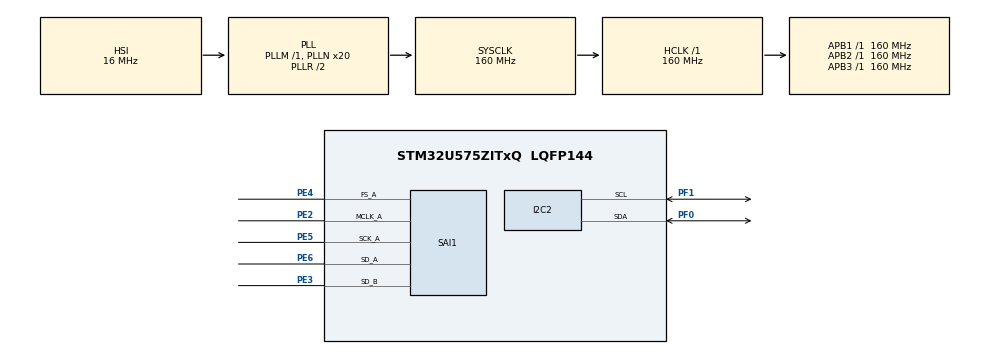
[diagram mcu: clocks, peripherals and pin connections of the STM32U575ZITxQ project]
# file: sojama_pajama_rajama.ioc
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CORTEX_M33_NS.userName=CORTEX_M33
I2C2.Timing=0x5060689D
Mcu.Family=STM32U5
Mcu.Name=STM32U575ZITxQ
Mcu.Package=LQFP144
NVIC.PriorityGroup=NVIC_PRIORITYGROUP_4
PE2.GPIO_Speed=GPIO_SPEED_FREQ_MEDIUM
PE2.Mode=SAI_A_MasterWithClock
PE2.Signal=SAI1_MCLK_A
PE3.Mode=SAI_B_SyncSlave
PE3.Signal=SAI1_SD_B
PE4.GPIO_Speed=GPIO_SPEED_FREQ_MEDIUM
PE4.Mode=SAI_A_MasterWithClock
PE4.Signal=SAI1_FS_A
PE5.GPIO_Speed=GPIO_SPEED_FREQ_MEDIUM
PE5.Mode=SAI_A_MasterWithClock
PE5.Signal=SAI1_SCK_A
PE6.GPIO_Speed=GPIO_SPEED_FREQ_MEDIUM
PE6.Mode=SAI_A_MasterWithClock
PE6.Signal=SAI1_SD_A
PF0.GPIO_PuPd=GPIO_PULLUP
PF0.Mode=I2C
PF0.Signal=I2C2_SDA
PF1.GPIO_PuPd=GPIO_PULLUP
PF1.Mode=I2C
PF1.Signal=I2C2_SCL
PWR.PowerMode=PWR_SMPS_SUPPLY
ProjectManager.HeapSize=0x200
ProjectManager.StackSize=0x400
ProjectManager.TargetToolchain=CMake
RCC.ADCFreq_Value=16000000
RCC.AHBFreq_Value=160000000
RCC.APB1Freq_Value=160000000
RCC.APB1TimFreq_Value=160000000
RCC.APB2Freq_Value=160000000
RCC.APB2TimFreq_Value=160000000
RCC.APB3Freq_Value=160000000
RCC.CortexFreq_Value=160000000
RCC.EPOD_VALUE=16000000
RCC.HCLKFreq_Value=160000000
RCC.HSE_VALUE=12288000
RCC.HSI48_VALUE=48000000
RCC.HSI_VALUE=16000000
RCC.LSE_VALUE=32768
RCC.LSIDIV_VALUE=32000
RCC.MSI_VALUE=4000000
RCC.PLL2FRACN=5898
RCC.PLL2N=30
RCC.PLL2P=5
RCC.PLL2Source=RCC_PLLSOURCE_HSI
RCC.PLLN=20
RCC.PLLSourceVirtual=RCC_PLLSOURCE_HSI
RCC.PWR_Regulator_Voltage_Scale=PWR_REGULATOR_VOLTAGE_SCALE1
RCC.SYSCLKFreq_VALUE=160000000
RCC.SYSCLKSource=RCC_SYSCLKSOURCE_PLLCLK
RCC.USBFreq_Value=48000000
RCC.VCOOutputFreq_Value=320000000
SAI1.AudioFrequency-SAI_A_MasterWithClock=SAI_AUDIO_FREQUENCY_48K
SAI1.AudioMode-SAI_A_MasterWithClock=SAI_MODEMASTER_RX
SAI1.AudioMode-SAI_B_SyncSlave=SAI_MODESLAVE_TX
SAI1.ClockStrobing-SAI_A_MasterWithClock=SAI_CLOCKSTROBING_RISINGEDGE
SAI1.DataSize-SAI_A_MasterWithClock=SAI_DATASIZE_24
SAI1.DataSize-SAI_B_SyncSlave=SAI_DATASIZE_24
SAI1.ErrorAudioFreq-SAI_A_MasterWithClock=0.0 %
SAI1.FSOffset-SAI_A_MasterWithClock=SAI_FS_BEFOREFIRSTBIT
SAI1.FSPolarity-SAI_A_MasterWithClock=SAI_FS_ACTIVE_HIGH
SAI1.FrameLength-SAI_A_MasterWithClock=128
SAI1.FSOffset-SAI_B_SyncSlave=SAI_FS_BEFOREFIRSTBIT
SAI1.FSPolarity-SAI_B_SyncSlave=SAI_FS_ACTIVE_HIGH
SAI1.FrameLength-SAI_B_SyncSlave=128
SAI1.Instance-SAI_A_MasterWithClock=SAI$Index_Block_A
SAI1.Instance-SAI_B_SyncSlave=SAI$Index_Block_B
SAI1.MckOutput-SAI_A_MasterWithClock=SAI_MCK_OUTPUT_ENABLE
SAI1.RealAudioFreq-SAI_A_MasterWithClock=48.0 KHz
SAI1.SlotActive-SAI_A_MasterWithClock=0x00000003
SAI1.SlotActive-SAI_B_SyncSlave=0x00000003
SAI1.SlotNumber-SAI_A_MasterWithClock=4
SAI1.SlotNumber-SAI_B_SyncSlave=4
SAI1.SlotSize-SAI_A_MasterWithClock=SAI_SLOTSIZE_32B
SAI1.SlotSize-SAI_B_SyncSlave=SAI_SLOTSIZE_32B
SAI1.VirtualMode-SAI_A_MasterWithClock=VM_MASTER
SAI1.VirtualMode-SAI_B_SyncSlave=VM_SLAVE
SAI1.VirtualSlotActive-SAI_A_MasterWithClock=SAI_SLOT_USERSETTING
SAI1.VirtualSlotActive0-SAI_A_MasterWithClock=true
SAI1.VirtualSlotActive1-SAI_A_MasterWithClock=true
SAI1.VirtualSlotActive-SAI_B_SyncSlave=SAI_SLOT_USERSETTING
SAI1.VirtualSlotActive0-SAI_B_SyncSlave=true
SAI1.VirtualSlotActive1-SAI_B_SyncSlave=true
VP_ICACHE_VS_ICACHE.Mode=DefaultMode
VP_LPBAMQUEUE_VS_QUEUE.Mode=QUEUEMODE
VP_LPBAM_VS_SIG1.Mode=SmartRun
VP_LPBAM_VS_SIG4.Mode=LPDMA1
VP_MEMORYMAP_VS_MEMORYMAP.Mode=CurAppReg
VP_PWR_VS_LPOM.Mode=PowerOptimisation
VP_PWR_VS_SECSignals.Mode=Security/Privilege
board=custom

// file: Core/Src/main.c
/* USER CODE BEGIN Header */
/**
  ******************************************************************************
  * @file           : main.c
  * @brief          : Main program body
  ******************************************************************************
  * @attention
  *
  * Copyright (c) 2026 STMicroelectronics.
  * All rights reserved.
  *
  * This software is licensed under terms that can be found in the LICENSE file
  * in the root directory of this software component.
  * If no LICENSE file comes with this software, it is provided AS-IS.
  *
  ******************************************************************************
  */
/* USER CODE END Header */
#include "main.h"

/* USER CODE BEGIN Includes */
#include "adau1372.h"
#include "audio_clip.h"
#include "audio.h"
#include "uart_comm.h"
#include <string.h>

/* USER CODE END Includes */

I2C_HandleTypeDef hi2c2;

SAI_HandleTypeDef hsai_BlockA1;
SAI_HandleTypeDef hsai_BlockB1;

/* USER CODE BEGIN PV */
ADAU1372_HandleTypeDef codec = { .hi2c = &hi2c2, .addr = ADAU1372_I2C_ADDR_BASE };

/* Matches SAI1: 48 kHz, 4 x 32-bit TDM slots, STM32 drives BCLK and a
 * 1-bit frame sync pulse, MCLK from SAI1_MCLK_A (PE2). */
static const ADAU1372_ConfigTypeDef codec_cfg = {
  .mclk_hz      = 12288000,
  .sample_rate  = 48000,
  .tdm_slots    = 4,
  .slot_bits    = 32,
  .clock_master = 0,
  .lrclk_pulse  = 1,
  .lrclk_invert = 0,   /* datasheet Table 20 says 1 for TDM; try 1 if there is no sound */
  .headphone_out = 1,
};

/* What plays when not recording or playing back, changeable from the debugger:
 * 0 = song clip, 1 = mic passthrough (mic 1 left, mic 2 right), 2 = silence,
 * 3 = test tone on both speakers (TONE_HZ at TONE_LEVEL). */
volatile uint8_t audio_mode = 2;
#define TONE_HZ    1000.0f
#define TONE_LEVEL 0.25f     /* peak, fraction of full scale: -12 dBFS */
static Audio_Tone tone;
/* Mic levels, updated every 100 ms: [0] = AIN0 (TDM slot 0), [1] = AIN1 (slot 1).
 * Watch mic_meter[n].peak_pct while talking. */
volatile Audio_Meter mic_meter[2];
volatile uint32_t audio_frames;
/* Audio runs on SAI1 DMA: each DMA half-buffer is AUDIO_BLOCK_FRAMES frames (1 ms),
 * processed in the DMA interrupt by Audio_ProcessBlock(). Diagnostics:
 * audio_blocks: blocks processed. audio_isr_max_cycles: longest block processing time
 * (DWT cycles, 160 = 1 us; a block is 1 ms = 160000). audio_tx_underruns: times the
 * speaker FIFO ran empty (each one is a click). audio_sai_errors: SAI/DMA errors. */
#define AUDIO_BLOCK_FRAMES 48U
#define AUDIO_BUF_WORDS    (2U * AUDIO_BLOCK_FRAMES * 2U)   /* 2 halves x frames x 2 slots */
volatile uint32_t audio_blocks;
volatile uint32_t audio_isr_max_cycles;
volatile uint32_t audio_tx_underruns;
volatile uint32_t audio_sai_errors;
static uint32_t audio_rx_buf[AUDIO_BUF_WORDS];
static uint32_t audio_tx_buf[AUDIO_BUF_WORDS];
static DMA_HandleTypeDef hdma_sai1_a;
static DMA_HandleTypeDef hdma_sai1_b;
static DMA_NodeTypeDef dma_node_sai1_a;
static DMA_NodeTypeDef dma_node_sai1_b;
static DMA_QListTypeDef dma_queue_sai1_a;
static DMA_QListTypeDef dma_queue_sai1_b;
/* Data streamed to the PC over UART, changeable from the debugger. Either stream
 * turns off the UART test counter.
 * 1 = mic levels (Tests/mic_plot.py): every 50 ms "MIC,<peak1>,<peak2>\r\n", each peak
 *     the largest |sample - dc| of that mic in the period, 0..8388608 (full scale).
 * 2 = spectrum (Tests/fft_plot.py): "FFT,<mic 0|1>,<v0>,...,<v255>\r\n", bin k at
 *     k * 93.75 Hz, each value the bin level in -dBFS (0..140). Alternates mics. */
volatile uint8_t stream_mode = 2;
#define MIC_STREAM_FRAMES 2400U   /* 50 ms at 48 kHz */
/* Written by the audio interrupt, sent by the main loop. */
static uint32_t stream_peak[2];
static uint32_t stream_frames;
static uint32_t mic_report[2];
static volatile uint8_t mic_report_ready;

/* Spectrum stream: the audio interrupt collects SPEC_N samples of mic spec_ch while
 * spec_collecting is set; the main loop then runs the FFT, formats and sends it. */
static Audio_Spectrum spectrum;
static volatile uint8_t spec_collecting;
static volatile uint8_t spec_ch;
static uint8_t spec_line[UART_TX_BUF_SIZE];
static size_t spec_len;
static Audio_Clip clip = { audio_clip, AUDIO_CLIP_LEN, 0, 0, 2 };

/* Record / play back both mics. Record: button from PC8 to GND, or the B1 user button
 * (PC13, high when pressed). Play: button from PC9 to GND. PC8/PC9 use internal pull-ups. Red LD3 (PG2) flashes while
 * recording, green LD1 (PC7) is on during playback. Stored at 16 kHz (1/3 of 48 kHz)
 * so 10 s of both mics fits in RAM. */
#define REC_SECONDS     10U
#define REC_RATIO       3U
#define REC_LEN         (REC_SECONDS * 48000U / REC_RATIO)
#define REC_BTN_PORT    GPIOC
#define REC_BTN_PIN     GPIO_PIN_8
#define PLAY_BTN_PORT   GPIOC
#define PLAY_BTN_PIN    GPIO_PIN_9
#define LED_FLASH_FRAMES 6000U   /* 125 ms at 48 kHz */
typedef enum { APP_IDLE, APP_RECORDING, APP_PLAYING } App_State;
volatile App_State app_state = APP_IDLE;
static int16_t rec_buf[2][REC_LEN];
static Audio_Recorder recorder[2] = {
  { rec_buf[0], REC_LEN, 0, 0, 0, REC_RATIO },
  { rec_buf[1], REC_LEN, 0, 0, 0, REC_RATIO },
};
static Audio_Clip rec_clip[2];
/* Normal recording (0): mic 1 -> speaker 1 (left, HPOUTL), mic 2 -> speaker 2
 * (right, HPOUTR), 10 s each. Test mode (1): one track, mic 1 for the first half and
 * mic 2 for the second, played on both speakers; red LD3 flashes during the mic 1
 * half, blue LD2 (PB7) during the mic 2 half. */
volatile uint8_t rec_split_test = 0;
#define REC_SPLIT_FRAMES (REC_SECONDS * 48000U / 2U)
static Audio_Button rec_button, play_button;
/* Record / playback state, used only by the audio interrupt. */
static uint32_t play_left;
static uint32_t led_count;
static uint32_t rec_frames;
/* USER CODE END PV */

void SystemClock_Config(void);
void PeriphCommonClock_Config(void);
static void SystemPower_Config(void);
static void MX_GPIO_Init(void);
static void MX_I2C2_Init(void);
static void MX_SAI1_Init(void);
static void MX_ICACHE_Init(void);

/* USER CODE BEGIN 0 */
/* ADAU1372 7-bit I2C address is 0x3C-0x3F, set by the ADDR0/ADDR1 pins. */
#define ADAU1372_ADDR_FIRST 0x3C
#define ADAU1372_ADDR_LAST  0x3F

/* Results of the I2C check, readable from the debugger. */
volatile uint8_t i2c_found_addrs[128];
volatile uint8_t i2c_found_count;
volatile uint8_t adau1372_addr;      /* 0 if not found */
volatile uint8_t adau1372_reg0;      /* register 0x0000 (CLK_CONTROL) */
volatile HAL_StatusTypeDef adau1372_read_status = HAL_ERROR;

/* I2C connection test for the ADAU1372. Runs on the default 4 MHz MSI
 * clock, so it does not need the external 12.288 MHz HSE.
 * Result is shown on the Nucleo LEDs and never returns:
 *   green LD1 (PC7) slow blink  -> ADAU1372 ACKed and register read worked
 *   blue  LD2 (PB7) slow blink  -> some device ACKed, but not at 0x3C-0x3F
 *   blue  LD2 (PB7) fast blink  -> nothing on the bus responded */
__attribute__((unused)) static void I2C_ConnectionTest(void)
{
  GPIO_InitTypeDef GPIO_InitStruct = {0};
  uint16_t led_pin;
  GPIO_TypeDef *led_port;
  uint32_t period;

  __HAL_RCC_GPIOB_CLK_ENABLE();
  __HAL_RCC_GPIOC_CLK_ENABLE();

  GPIO_InitStruct.Mode = GPIO_MODE_OUTPUT_PP;
  GPIO_InitStruct.Pull = GPIO_NOPULL;
  GPIO_InitStruct.Speed = GPIO_SPEED_FREQ_LOW;
  GPIO_InitStruct.Pin = GPIO_PIN_7;
  HAL_GPIO_Init(GPIOB, &GPIO_InitStruct);
  HAL_GPIO_Init(GPIOC, &GPIO_InitStruct);

  /* Same settings as MX_I2C2_Init(), but with a timing value for
   * ~100 kHz from a 4 MHz kernel clock (PRESC=0, SCLL=0x13, SCLH=0x0F). */
  hi2c2.Instance = I2C2;
  hi2c2.Init.Timing = 0x00420F13;
  hi2c2.Init.OwnAddress1 = 0;
  hi2c2.Init.AddressingMode = I2C_ADDRESSINGMODE_7BIT;
  hi2c2.Init.DualAddressMode = I2C_DUALADDRESS_DISABLE;
  hi2c2.Init.OwnAddress2 = 0;
  hi2c2.Init.OwnAddress2Masks = I2C_OA2_NOMASK;
  hi2c2.Init.GeneralCallMode = I2C_GENERALCALL_DISABLE;
  hi2c2.Init.NoStretchMode = I2C_NOSTRETCH_DISABLE;
  if (HAL_I2C_Init(&hi2c2) != HAL_OK)
  {
    Error_Handler();
  }

  /* Enable the internal pull-ups on SDA/SCL in case the breakout has none.
   * They are weak (~40k) but fine at 100 kHz with short wires. */
  GPIO_InitStruct.Pin = GPIO_PIN_0 | GPIO_PIN_1;
  GPIO_InitStruct.Mode = GPIO_MODE_AF_OD;
  GPIO_InitStruct.Pull = GPIO_PULLUP;
  GPIO_InitStruct.Speed = GPIO_SPEED_FREQ_LOW;
  GPIO_InitStruct.Alternate = GPIO_AF4_I2C2;
  HAL_GPIO_Init(GPIOF, &GPIO_InitStruct);

  /* Scan the whole bus. */
  i2c_found_count = 0;
  adau1372_addr = 0;
  for (uint8_t addr = 0x08; addr < 0x78; addr++)
  {
    if (HAL_I2C_IsDeviceReady(&hi2c2, addr << 1, 2, 10) == HAL_OK)
    {
      i2c_found_addrs[i2c_found_count++] = addr;
      if (addr >= ADAU1372_ADDR_FIRST && addr <= ADAU1372_ADDR_LAST && adau1372_addr == 0)
      {
        adau1372_addr = addr;
      }
    }
  }

  /* ADAU1372 registers use a 16-bit subaddress. */
  if (adau1372_addr != 0)
  {
    uint8_t val = 0;
    adau1372_read_status = HAL_I2C_Mem_Read(&hi2c2, adau1372_addr << 1, 0x0000,
                                            I2C_MEMADD_SIZE_16BIT, &val, 1, 100);
    adau1372_reg0 = val;
  }

  if (adau1372_addr != 0 && adau1372_read_status == HAL_OK)
  {
    led_port = GPIOC; led_pin = GPIO_PIN_7; period = 500;
  }
  else if (i2c_found_count > 0)
  {
    led_port = GPIOB; led_pin = GPIO_PIN_7; period = 500;
  }
  else
  {
    led_port = GPIOB; led_pin = GPIO_PIN_7; period = 100;
  }

  while (1)
  {
    HAL_GPIO_TogglePin(led_port, led_pin);
    HAL_Delay(period);
  }
}

/* Stop both SAI1 blocks at the end of the current frame and empty their FIFOs. */
static void Audio_StopSai(void)
{
  __HAL_SAI_DISABLE(&hsai_BlockB1);
  __HAL_SAI_DISABLE(&hsai_BlockA1);
  uint32_t start = HAL_GetTick();
  while (((SAI1_Block_A->CR1 | SAI1_Block_B->CR1) & SAI_xCR1_SAIEN) && (HAL_GetTick() - start < 2U))
  {
  }
  SAI1_Block_A->CR2 |= SAI_xCR2_FFLUSH;
  SAI1_Block_B->CR2 |= SAI_xCR2_FFLUSH;
  __HAL_SAI_CLEAR_FLAG(&hsai_BlockA1, SAI_FLAG_OVRUDR);
  __HAL_SAI_CLEAR_FLAG(&hsai_BlockB1, SAI_FLAG_OVRUDR);
}

/* Circular GPDMA channel with one linked-list node covering the whole buffer.
 * The SAI HAL fills in the node's addresses and size when the transfer starts. */
static HAL_StatusTypeDef Audio_DmaSetup(DMA_HandleTypeDef *hdma, DMA_Channel_TypeDef *channel,
                                        DMA_NodeTypeDef *node, DMA_QListTypeDef *queue,
                                        uint32_t request, uint32_t direction)
{
  DMA_NodeConfTypeDef conf = {0};
  uint8_t to_periph = (direction == DMA_MEMORY_TO_PERIPH);

  conf.NodeType = DMA_GPDMA_LINEAR_NODE;
  conf.Init.Request = request;
  conf.Init.BlkHWRequest = DMA_BREQ_SINGLE_BURST;
  conf.Init.Direction = direction;
  conf.Init.SrcInc = to_periph ? DMA_SINC_INCREMENTED : DMA_SINC_FIXED;
  conf.Init.DestInc = to_periph ? DMA_DINC_FIXED : DMA_DINC_INCREMENTED;
  conf.Init.SrcDataWidth = DMA_SRC_DATAWIDTH_WORD;
  conf.Init.DestDataWidth = DMA_DEST_DATAWIDTH_WORD;
  conf.Init.SrcBurstLength = 1;
  conf.Init.DestBurstLength = 1;
  conf.Init.TransferAllocatedPort = DMA_SRC_ALLOCATED_PORT0 | DMA_DEST_ALLOCATED_PORT1;
  conf.Init.TransferEventMode = DMA_TCEM_BLOCK_TRANSFER;
  conf.Init.Mode = DMA_NORMAL;
  conf.TriggerConfig.TriggerPolarity = DMA_TRIG_POLARITY_MASKED;
  conf.DataHandlingConfig.DataExchange = DMA_EXCHANGE_NONE;
  conf.DataHandlingConfig.DataAlignment = DMA_DATA_RIGHTALIGN_ZEROPADDED;
  if (HAL_DMAEx_List_BuildNode(&conf, node) != HAL_OK
      || HAL_DMAEx_List_InsertNode(queue, NULL, node) != HAL_OK
      || HAL_DMAEx_List_SetCircularMode(queue) != HAL_OK)
  {
    return HAL_ERROR;
  }

  hdma->Instance = channel;
  hdma->InitLinkedList.Priority = DMA_HIGH_PRIORITY;
  hdma->InitLinkedList.LinkStepMode = DMA_LSM_FULL_EXECUTION;
  hdma->InitLinkedList.LinkAllocatedPort = DMA_LINK_ALLOCATED_PORT0;
  hdma->InitLinkedList.TransferEventMode = DMA_TCEM_LAST_LL_ITEM_TRANSFER;
  hdma->InitLinkedList.LinkedListMode = DMA_LINKEDLIST_CIRCULAR;
  if (HAL_DMAEx_List_Init(hdma) != HAL_OK
      || HAL_DMAEx_List_LinkQ(hdma, queue) != HAL_OK
      || HAL_DMA_ConfigChannelAttributes(hdma, DMA_CHANNEL_NPRIV) != HAL_OK)
  {
    return HAL_ERROR;
  }
  return HAL_OK;
}

/* Start full-duplex audio on SAI1 DMA: Block A receives slots 0 and 1 (the mics),
 * Block B sends slots 0 and 1 (the speakers). The synchronous slave (B) starts before
 * the master (A), so the first word of each buffer is TDM slot 0. */
static HAL_StatusTypeDef Audio_Start(void)
{
  __HAL_RCC_GPDMA1_CLK_ENABLE();
  if (Audio_DmaSetup(&hdma_sai1_a, GPDMA1_Channel1, &dma_node_sai1_a, &dma_queue_sai1_a,
                     GPDMA1_REQUEST_SAI1_A, DMA_PERIPH_TO_MEMORY) != HAL_OK
      || Audio_DmaSetup(&hdma_sai1_b, GPDMA1_Channel2, &dma_node_sai1_b, &dma_queue_sai1_b,
                        GPDMA1_REQUEST_SAI1_B, DMA_MEMORY_TO_PERIPH) != HAL_OK)
  {
    return HAL_ERROR;
  }
  __HAL_LINKDMA(&hsai_BlockA1, hdmarx, hdma_sai1_a);
  __HAL_LINKDMA(&hsai_BlockB1, hdmatx, hdma_sai1_b);

  /* Above the UART (14) so audio is never held up by it. */
  HAL_NVIC_SetPriority(GPDMA1_Channel1_IRQn, 5, 0);
  HAL_NVIC_EnableIRQ(GPDMA1_Channel1_IRQn);
  HAL_NVIC_SetPriority(GPDMA1_Channel2_IRQn, 5, 0);
  HAL_NVIC_EnableIRQ(GPDMA1_Channel2_IRQn);

  /* Block A was running only to supply MCLK during codec setup. */
  Audio_StopSai();
  if (HAL_SAI_Transmit_DMA(&hsai_BlockB1, (uint8_t *)audio_tx_buf, AUDIO_BUF_WORDS) != HAL_OK
      || HAL_SAI_Receive_DMA(&hsai_BlockA1, (uint8_t *)audio_rx_buf, AUDIO_BUF_WORDS) != HAL_OK)
  {
    return HAL_ERROR;
  }
  return HAL_OK;
}

/* Process one 1 ms block: rx holds AUDIO_BLOCK_FRAMES frames of mic samples (slot 0,
 * slot 1), tx receives the matching speaker samples. Runs in the DMA interrupt. While
 * this block of rx was being received, the DMA was playing the other half of tx, so
 * this tx half is played about 1 ms from now. */
static void Audio_ProcessBlock(const uint32_t *rx, uint32_t *tx)
{
  uint32_t t_start = DWT->CYCCNT;

  for (uint32_t f = 0; f < AUDIO_BLOCK_FRAMES; f++)
  {
    int32_t mic[2];
    for (uint32_t ch = 0; ch < 2; ch++)
    {
      mic[ch] = Audio_FromSai24(rx[2 * f + ch]);
      Audio_MeterAdd((Audio_Meter *)&mic_meter[ch], mic[ch]);
      int32_t dev = mic[ch] - mic_meter[ch].dc;
      uint32_t mag = (dev < 0) ? (uint32_t)(-(int64_t)dev) : (uint32_t)dev;
      if (mag > stream_peak[ch])
      {
        stream_peak[ch] = mag;
      }
    }

    uint8_t rec_raw = (HAL_GPIO_ReadPin(REC_BTN_PORT, REC_BTN_PIN) == GPIO_PIN_RESET)
                      || (HAL_GPIO_ReadPin(GPIOC, GPIO_PIN_13) == GPIO_PIN_SET);
    if (Audio_ButtonPressed(&rec_button, rec_raw))
    {
      Audio_RecStart(&recorder[0]);
      Audio_RecStart(&recorder[1]);
      app_state = APP_RECORDING;
      led_count = 0;
      rec_frames = 0;
      HAL_GPIO_WritePin(GPIOC, GPIO_PIN_7, GPIO_PIN_RESET);
    }
    if (Audio_ButtonPressed(&play_button, HAL_GPIO_ReadPin(PLAY_BTN_PORT, PLAY_BTN_PIN) == GPIO_PIN_RESET)
        && app_state != APP_RECORDING && recorder[0].len > 0)
    {
      for (uint32_t ch = 0; ch < 2; ch++)
      {
        /* In the split test both outputs play the single track in rec_buf[0]. */
        uint32_t src = rec_split_test ? 0U : ch;
        rec_clip[ch] = (Audio_Clip){ rec_buf[src], recorder[src].len, 0, 0, REC_RATIO };
      }
      play_left = recorder[0].len * REC_RATIO;
      app_state = APP_PLAYING;
      HAL_GPIO_WritePin(GPIOC, GPIO_PIN_7, GPIO_PIN_SET);
    }

    int32_t out[2] = { 0, 0 };
    if (app_state == APP_RECORDING)
    {
      uint8_t second_half = (rec_split_test && rec_frames >= REC_SPLIT_FRAMES) ? 1U : 0U;
      if (rec_frames == REC_SPLIT_FRAMES && rec_split_test)
      {
        HAL_GPIO_WritePin(GPIOG, GPIO_PIN_2, GPIO_PIN_RESET);
        led_count = 0;
      }
      rec_frames++;
      if (++led_count == LED_FLASH_FRAMES)
      {
        led_count = 0;
        if (second_half)
        {
          HAL_GPIO_TogglePin(GPIOB, GPIO_PIN_7);
        }
        else
        {
          HAL_GPIO_TogglePin(GPIOG, GPIO_PIN_2);
        }
      }
      uint8_t full;
      if (rec_split_test)
      {
        full = Audio_RecAdd(&recorder[0], second_half ? mic[1] : mic[0]);
      }
      else
      {
        full = Audio_RecAdd(&recorder[0], mic[0]);
        full |= Audio_RecAdd(&recorder[1], mic[1]);
      }
      if (full)
      {
        app_state = APP_IDLE;
        HAL_GPIO_WritePin(GPIOG, GPIO_PIN_2, GPIO_PIN_RESET);
        HAL_GPIO_WritePin(GPIOB, GPIO_PIN_7, GPIO_PIN_RESET);
      }
    }
    else if (app_state == APP_PLAYING)
    {
      out[0] = Audio_ClipNext(&rec_clip[0]);
      out[1] = Audio_ClipNext(&rec_clip[1]);
      if (--play_left == 0U)
      {
        app_state = APP_IDLE;
        HAL_GPIO_WritePin(GPIOC, GPIO_PIN_7, GPIO_PIN_RESET);
      }
    }
    else if (audio_mode == 0)
    {
      out[0] = Audio_ClipNext(&clip);
      out[1] = out[0];
    }
    else if (audio_mode == 1)
    {
      out[0] = mic[0];
      out[1] = mic[1];
    }
    else if (audio_mode == 3)
    {
      out[0] = Audio_ToneNext(&tone);
      out[1] = out[0];
    }
    tx[2 * f] = Audio_ToSai24(out[0]);
    tx[2 * f + 1] = Audio_ToSai24(out[1]);

    /* Streams: hand data to the main loop, which does the slow work. */
    if (++stream_frames >= MIC_STREAM_FRAMES)
    {
      mic_report[0] = stream_peak[0];
      mic_report[1] = stream_peak[1];
      mic_report_ready = 1;
      stream_peak[0] = 0;
      stream_peak[1] = 0;
      stream_frames = 0;
    }
    if (spec_collecting && Audio_SpectrumAdd(&spectrum, mic[spec_ch]))
    {
      spec_collecting = 0;
    }
  }

  if (SAI1_Block_B->SR & SAI_xSR_OVRUDR)
  {
    audio_tx_underruns++;
    __HAL_SAI_CLEAR_FLAG(&hsai_BlockB1, SAI_FLAG_OVRUDR);
  }
  audio_frames += AUDIO_BLOCK_FRAMES;
  audio_blocks++;
  uint32_t cycles = DWT->CYCCNT - t_start;
  if (cycles > audio_isr_max_cycles)
  {
    audio_isr_max_cycles = cycles;
  }
}

void HAL_SAI_RxHalfCpltCallback(SAI_HandleTypeDef *hsai)
{
  if (hsai == &hsai_BlockA1)
  {
    Audio_ProcessBlock(&audio_rx_buf[0], &audio_tx_buf[0]);
  }
}

void HAL_SAI_RxCpltCallback(SAI_HandleTypeDef *hsai)
{
  if (hsai == &hsai_BlockA1)
  {
    Audio_ProcessBlock(&audio_rx_buf[AUDIO_BUF_WORDS / 2U], &audio_tx_buf[AUDIO_BUF_WORDS / 2U]);
  }
}

void HAL_SAI_ErrorCallback(SAI_HandleTypeDef *hsai)
{
  (void)hsai;
  audio_sai_errors++;
}

void GPDMA1_Channel1_IRQHandler(void)
{
  HAL_DMA_IRQHandler(&hdma_sai1_a);
}

void GPDMA1_Channel2_IRQHandler(void)
{
  HAL_DMA_IRQHandler(&hdma_sai1_b);
}
/* USER CODE END 0 */

int main(void)
{

  /* MCU Configuration--------------------------------------------------------*/

  /* Reset of all peripherals, Initializes the Flash interface and the Systick. */
  HAL_Init();

  /* Configure the System Power */
  SystemPower_Config();

  /* Configure the system clock */
  SystemClock_Config();

  /* Configure the peripherals common clocks */
  PeriphCommonClock_Config();

  /* Initialize all configured peripherals */
  MX_GPIO_Init();
  MX_I2C2_Init();
  MX_SAI1_Init();
  MX_ICACHE_Init();
  /* USER CODE BEGIN 2 */
  /* The STM32 generates the codec's MCLK, so run SAI1 before touching it. */
  __HAL_SAI_ENABLE(&hsai_BlockA1);

  /* Bus scan: results in i2c_found_addrs / i2c_found_count / adau1372_addr. */
  i2c_found_count = 0;
  adau1372_addr = 0;
  for (uint8_t addr = 0x08; addr < 0x78; addr++)
  {
    if (HAL_I2C_IsDeviceReady(&hi2c2, addr << 1, 2, 10) == HAL_OK)
    {
      i2c_found_addrs[i2c_found_count++] = addr;
      if (addr >= ADAU1372_ADDR_FIRST && addr <= ADAU1372_ADDR_LAST && adau1372_addr == 0)
      {
        adau1372_addr = addr;
      }
    }
  }

  if (ADAU1372_Init(&codec, &codec_cfg) != HAL_OK)
  {
    Error_Handler();
  }

  /* UART to the PC (ST-LINK virtual COM port). Audio still runs if this fails. */
  uart_comm_init();
  if (stream_mode != 0)
  {
    uart_test_periodic = 0;
  }
  Audio_SpectrumInit();
  Audio_ToneSet(&tone, TONE_HZ, 48000.0f, TONE_LEVEL);
  Audio_SpectrumStart(&spectrum);

  /* Cycle counter for the audio interrupt timing measurement. */
  DCB->DEMCR |= DCB_DEMCR_TRCENA_Msk;
  DWT->CYCCNT = 0;
  DWT->CTRL |= DWT_CTRL_CYCCNTENA_Msk;

  uint8_t last_vol = 0xFF;

  /* Buttons and LEDs. */
  {
    GPIO_InitTypeDef gpio = {0};
    __HAL_RCC_GPIOC_CLK_ENABLE();
    __HAL_RCC_GPIOG_CLK_ENABLE();
    gpio.Mode = GPIO_MODE_INPUT;
    gpio.Pull = GPIO_NOPULL;
    gpio.Pin = GPIO_PIN_13;
    HAL_GPIO_Init(GPIOC, &gpio);
    gpio.Pull = GPIO_PULLUP;
    gpio.Pin = REC_BTN_PIN | PLAY_BTN_PIN;
    HAL_GPIO_Init(GPIOC, &gpio);
    gpio.Mode = GPIO_MODE_OUTPUT_PP;
    gpio.Pull = GPIO_NOPULL;
    gpio.Speed = GPIO_SPEED_FREQ_LOW;
    gpio.Pin = GPIO_PIN_2;
    HAL_GPIO_Init(GPIOG, &gpio);
    gpio.Pin = GPIO_PIN_7;
    HAL_GPIO_Init(GPIOC, &gpio);
    __HAL_RCC_GPIOB_CLK_ENABLE();
    HAL_GPIO_Init(GPIOB, &gpio);
    HAL_GPIO_WritePin(GPIOG, GPIO_PIN_2, GPIO_PIN_RESET);
    HAL_GPIO_WritePin(GPIOC, GPIO_PIN_7, GPIO_PIN_RESET);
    HAL_GPIO_WritePin(GPIOB, GPIO_PIN_7, GPIO_PIN_RESET);
  }

  /* Start the spectrum stream's first collection, then audio. */
  spec_collecting = (stream_mode == 2);
  if (Audio_Start() != HAL_OK)
  {
    Error_Handler();
  }

  /* USER CODE END 2 */

  /* Infinite loop */
  while (1)
  {

    /* USER CODE BEGIN 3 */
    /* Audio runs in the SAI DMA interrupt; this loop does the slow work, and nothing
     * here can make the audio late. */
    uart_comm_poll();

    /* DAC volume: -12 dB for mic passthrough to keep feedback down, 0 dB otherwise.
     * Each step above 0x00 is 0.375 dB quieter. Changing it takes ~1 ms of I2C,
     * so it only happens when the setting changes. */
    uint8_t vol = (app_state == APP_IDLE && audio_mode == 1) ? 0x20 : 0x00;
    if (vol != last_vol)
    {
      last_vol = vol;
      ADAU1372_SetDacVolume(&codec, 0, vol);
      ADAU1372_SetDacVolume(&codec, 1, vol);
    }

    if (mic_report_ready)
    {
      mic_report_ready = 0;
      if (stream_mode == 1)
      {
        /* If UART is still busy this report is skipped, never waited for. */
        uint8_t msg[32];
        size_t n = 4;
        memcpy(msg, "MIC,", 4);
        n += uart_format_uint(&msg[n], mic_report[0]);
        msg[n++] = ',';
        n += uart_format_uint(&msg[n], mic_report[1]);
        msg[n++] = '\r';
        msg[n++] = '\n';
        uart_send(msg, n);
      }
    }

    if (stream_mode == 2 && !spec_collecting && spectrum.phase == 0U)
    {
      /* Stream just switched on: start collecting. */
      Audio_SpectrumStart(&spectrum);
      __DMB();
      spec_collecting = 1;
    }
    else if (stream_mode == 2 && !spec_collecting)
    {
      /* The interrupt has collected a full set of samples: run the FFT, format the
       * line, and send it once the UART is free. */
      if (spec_len == 0U)
      {
        while (!Audio_SpectrumStep(&spectrum))
        {
        }
        memcpy(spec_line, "FFT,", 4);
        spec_len = 4;
        spec_line[spec_len++] = (uint8_t)('0' + spec_ch);
        for (uint32_t k = 0; k < SPEC_BINS; k++)
        {
          spec_line[spec_len++] = ',';
          spec_len += uart_format_uint(&spec_line[spec_len], spectrum.db[k]);
        }
        spec_line[spec_len++] = '\r';
        spec_line[spec_len++] = '\n';
      }
      if (!uart_tx_busy() && uart_send(spec_line, spec_len))
      {
        spec_len = 0;
        spec_ch ^= 1U;
        Audio_SpectrumStart(&spectrum);
        __DMB();                 /* spectrum reset before the interrupt starts adding */
        spec_collecting = 1;
      }
    }
  }
  /* USER CODE END 3 */
}

void SystemClock_Config(void)
{
  RCC_OscInitTypeDef RCC_OscInitStruct = {0};
  RCC_ClkInitTypeDef RCC_ClkInitStruct = {0};

  /** Configure the main internal regulator output voltage
  */
  if (HAL_PWREx_ControlVoltageScaling(PWR_REGULATOR_VOLTAGE_SCALE1) != HAL_OK)
  {
    Error_Handler();
  }

  /** Initializes the CPU, AHB and APB buses clocks
  */
  RCC_OscInitStruct.OscillatorType = RCC_OSCILLATORTYPE_HSI;
  RCC_OscInitStruct.HSIState = RCC_HSI_ON;
  RCC_OscInitStruct.HSICalibrationValue = RCC_HSICALIBRATION_DEFAULT;
  RCC_OscInitStruct.PLL.PLLState = RCC_PLL_ON;
  RCC_OscInitStruct.PLL.PLLSource = RCC_PLLSOURCE_HSI;
  RCC_OscInitStruct.PLL.PLLMBOOST = RCC_PLLMBOOST_DIV1;
  RCC_OscInitStruct.PLL.PLLM = 1;
  RCC_OscInitStruct.PLL.PLLN = 20;
  RCC_OscInitStruct.PLL.PLLP = 2;
  RCC_OscInitStruct.PLL.PLLQ = 2;
  RCC_OscInitStruct.PLL.PLLR = 2;
  RCC_OscInitStruct.PLL.PLLRGE = RCC_PLLVCIRANGE_1;
  RCC_OscInitStruct.PLL.PLLFRACN = 0;
  if (HAL_RCC_OscConfig(&RCC_OscInitStruct) != HAL_OK)
  {
    Error_Handler();
  }

  /** Initializes the CPU, AHB and APB buses clocks
  */
  RCC_ClkInitStruct.ClockType = RCC_CLOCKTYPE_HCLK|RCC_CLOCKTYPE_SYSCLK
                              |RCC_CLOCKTYPE_PCLK1|RCC_CLOCKTYPE_PCLK2
                              |RCC_CLOCKTYPE_PCLK3;
  RCC_ClkInitStruct.SYSCLKSource = RCC_SYSCLKSOURCE_PLLCLK;
  RCC_ClkInitStruct.AHBCLKDivider = RCC_SYSCLK_DIV1;
  RCC_ClkInitStruct.APB1CLKDivider = RCC_HCLK_DIV1;
  RCC_ClkInitStruct.APB2CLKDivider = RCC_HCLK_DIV1;
  RCC_ClkInitStruct.APB3CLKDivider = RCC_HCLK_DIV1;

  if (HAL_RCC_ClockConfig(&RCC_ClkInitStruct, FLASH_LATENCY_4) != HAL_OK)
  {
    Error_Handler();
  }
}

void PeriphCommonClock_Config(void)
{
  RCC_PeriphCLKInitTypeDef PeriphClkInit = {0};

  /** Initializes the common periph clock
  */
  PeriphClkInit.PeriphClockSelection = RCC_PERIPHCLK_SAI1;
  PeriphClkInit.Sai1ClockSelection = RCC_SAI1CLKSOURCE_PLL2;
  PeriphClkInit.PLL2.PLL2Source = RCC_PLLSOURCE_HSI;
  PeriphClkInit.PLL2.PLL2M = 1;
  PeriphClkInit.PLL2.PLL2N = 30;
  PeriphClkInit.PLL2.PLL2P = 5;
  PeriphClkInit.PLL2.PLL2Q = 2;
  PeriphClkInit.PLL2.PLL2R = 2;
  PeriphClkInit.PLL2.PLL2RGE = RCC_PLLVCIRANGE_1;
  PeriphClkInit.PLL2.PLL2FRACN = 5898;
  PeriphClkInit.PLL2.PLL2ClockOut = RCC_PLL2_DIVP;
  if (HAL_RCCEx_PeriphCLKConfig(&PeriphClkInit) != HAL_OK)
  {
    Error_Handler();
  }
}

/**
  * @brief Power Configuration
  * @retval None
  */
static void SystemPower_Config(void)
{
  HAL_PWREx_EnableVddIO2();

  /*
   * Switch to SMPS regulator instead of LDO
   */
  if (HAL_PWREx_ConfigSupply(PWR_SMPS_SUPPLY) != HAL_OK)
  {
    Error_Handler();
  }
}

static void MX_I2C2_Init(void)
{

  hi2c2.Instance = I2C2;
  hi2c2.Init.Timing = 0x5060689D;
  hi2c2.Init.OwnAddress1 = 0;
  hi2c2.Init.AddressingMode = I2C_ADDRESSINGMODE_7BIT;
  hi2c2.Init.DualAddressMode = I2C_DUALADDRESS_DISABLE;
  hi2c2.Init.OwnAddress2 = 0;
  hi2c2.Init.OwnAddress2Masks = I2C_OA2_NOMASK;
  hi2c2.Init.GeneralCallMode = I2C_GENERALCALL_DISABLE;
  hi2c2.Init.NoStretchMode = I2C_NOSTRETCH_DISABLE;
  if (HAL_I2C_Init(&hi2c2) != HAL_OK)
  {
    Error_Handler();
  }

  /** Configure Analogue filter
  */
  if (HAL_I2CEx_ConfigAnalogFilter(&hi2c2, I2C_ANALOGFILTER_ENABLE) != HAL_OK)
  {
    Error_Handler();
  }

  /** Configure Digital filter
  */
  if (HAL_I2CEx_ConfigDigitalFilter(&hi2c2, 0) != HAL_OK)
  {
    Error_Handler();
  }

}

static void MX_ICACHE_Init(void)
{

  /** Enable instruction cache (default 2-ways set associative cache)
  */
  if (HAL_ICACHE_Enable() != HAL_OK)
  {
    Error_Handler();
  }

}

static void MX_SAI1_Init(void)
{

  hsai_BlockA1.Instance = SAI1_Block_A;
  hsai_BlockA1.Init.Protocol = SAI_FREE_PROTOCOL;
  hsai_BlockA1.Init.AudioMode = SAI_MODEMASTER_RX;
  hsai_BlockA1.Init.DataSize = SAI_DATASIZE_24;
  hsai_BlockA1.Init.FirstBit = SAI_FIRSTBIT_MSB;
  hsai_BlockA1.Init.ClockStrobing = SAI_CLOCKSTROBING_RISINGEDGE;
  hsai_BlockA1.Init.Synchro = SAI_ASYNCHRONOUS;
  hsai_BlockA1.Init.OutputDrive = SAI_OUTPUTDRIVE_DISABLE;
  hsai_BlockA1.Init.NoDivider = SAI_MASTERDIVIDER_ENABLE;
  hsai_BlockA1.Init.FIFOThreshold = SAI_FIFOTHRESHOLD_EMPTY;
  hsai_BlockA1.Init.AudioFrequency = SAI_AUDIO_FREQUENCY_48K;
  hsai_BlockA1.Init.SynchroExt = SAI_SYNCEXT_DISABLE;
  hsai_BlockA1.Init.MckOutput = SAI_MCK_OUTPUT_ENABLE;
  hsai_BlockA1.Init.MonoStereoMode = SAI_STEREOMODE;
  hsai_BlockA1.Init.CompandingMode = SAI_NOCOMPANDING;
  hsai_BlockA1.Init.PdmInit.Activation = DISABLE;
  hsai_BlockA1.Init.PdmInit.MicPairsNbr = 1;
  hsai_BlockA1.Init.PdmInit.ClockEnable = SAI_PDM_CLOCK1_ENABLE;
  hsai_BlockA1.FrameInit.FrameLength = 128;
  hsai_BlockA1.FrameInit.ActiveFrameLength = 1;
  hsai_BlockA1.FrameInit.FSDefinition = SAI_FS_STARTFRAME;
  hsai_BlockA1.FrameInit.FSPolarity = SAI_FS_ACTIVE_HIGH;
  hsai_BlockA1.FrameInit.FSOffset = SAI_FS_BEFOREFIRSTBIT;
  hsai_BlockA1.SlotInit.FirstBitOffset = 0;
  hsai_BlockA1.SlotInit.SlotSize = SAI_SLOTSIZE_32B;
  hsai_BlockA1.SlotInit.SlotNumber = 4;
  hsai_BlockA1.SlotInit.SlotActive = 0x00000003;
  if (HAL_SAI_Init(&hsai_BlockA1) != HAL_OK)
  {
    Error_Handler();
  }
  hsai_BlockB1.Instance = SAI1_Block_B;
  hsai_BlockB1.Init.Protocol = SAI_FREE_PROTOCOL;
  hsai_BlockB1.Init.AudioMode = SAI_MODESLAVE_TX;
  hsai_BlockB1.Init.DataSize = SAI_DATASIZE_24;
  hsai_BlockB1.Init.FirstBit = SAI_FIRSTBIT_MSB;
  hsai_BlockB1.Init.ClockStrobing = SAI_CLOCKSTROBING_FALLINGEDGE;
  hsai_BlockB1.Init.Synchro = SAI_SYNCHRONOUS;
  hsai_BlockB1.Init.OutputDrive = SAI_OUTPUTDRIVE_DISABLE;
  hsai_BlockB1.Init.NoDivider = SAI_MASTERDIVIDER_ENABLE;
  hsai_BlockB1.Init.FIFOThreshold = SAI_FIFOTHRESHOLD_EMPTY;
  hsai_BlockB1.Init.SynchroExt = SAI_SYNCEXT_DISABLE;
  hsai_BlockB1.Init.MckOutput = SAI_MCK_OUTPUT_ENABLE;
  hsai_BlockB1.Init.MonoStereoMode = SAI_STEREOMODE;
  hsai_BlockB1.Init.CompandingMode = SAI_NOCOMPANDING;
  hsai_BlockB1.Init.TriState = SAI_OUTPUT_NOTRELEASED;
  hsai_BlockB1.Init.PdmInit.Activation = DISABLE;
  hsai_BlockB1.Init.PdmInit.MicPairsNbr = 1;
  hsai_BlockB1.Init.PdmInit.ClockEnable = SAI_PDM_CLOCK1_ENABLE;
  hsai_BlockB1.FrameInit.FrameLength = 128;
  hsai_BlockB1.FrameInit.ActiveFrameLength = 1;
  hsai_BlockB1.FrameInit.FSDefinition = SAI_FS_STARTFRAME;
  hsai_BlockB1.FrameInit.FSPolarity = SAI_FS_ACTIVE_HIGH;
  hsai_BlockB1.FrameInit.FSOffset = SAI_FS_BEFOREFIRSTBIT;
  hsai_BlockB1.SlotInit.FirstBitOffset = 0;
  hsai_BlockB1.SlotInit.SlotSize = SAI_SLOTSIZE_32B;
  hsai_BlockB1.SlotInit.SlotNumber = 4;
  hsai_BlockB1.SlotInit.SlotActive = 0x00000003;
  if (HAL_SAI_Init(&hsai_BlockB1) != HAL_OK)
  {
    Error_Handler();
  }

}

static void MX_GPIO_Init(void)
{

  /* GPIO Ports Clock Enable */
  __HAL_RCC_GPIOE_CLK_ENABLE();
  __HAL_RCC_GPIOH_CLK_ENABLE();
  __HAL_RCC_GPIOG_CLK_ENABLE();

}

void Error_Handler(void)
{
  __disable_irq();
  while (1)
  {
  }
}
